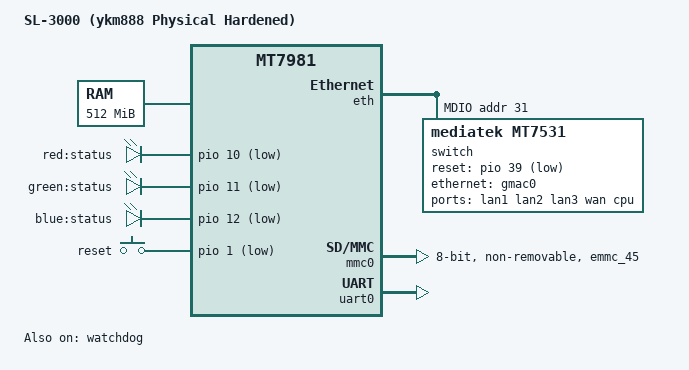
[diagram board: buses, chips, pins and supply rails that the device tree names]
/dts-v1/;
#include "mt7981.dtsi"
#include <dt-bindings/gpio/gpio.h>
#include <dt-bindings/input/input.h>

/ {
	model = "SL-3000 (ykm888 Physical Hardened)";
	compatible = "sl,3000-emmc", "mediatek,mt7981";

	aliases {
		/* 物理别名锁定：确保引导日志输出到正确的 UART */
		serial0 = &uart0;
		/* 物理反馈：系统状态灯逻辑对齐 */
		led-boot = &status_green_led;
		led-failsafe = &status_red_led;
		led-running = &status_green_led;
		led-upgrade = &status_blue_led;
	};

	chosen {
		/* 物理对齐：stdout-path 确保内核崩溃信息能通过串口 0 输出 */
		stdout-path = "serial0:115200n8";
		/* 物理对齐：root 参数匹配 filogic.mk 中的 production 分区名 */
		bootargs = "console=ttyS0,115200n1 loglevel=8 earlycon=uart8250,mmio32,0x11002000 root=PARTLABEL=production rootwait rw rootfstype=f2fs,squashfs";
	};

	/* 物理锁定：为了极致的救砖稳定性，暂时锁定 512MB RAM (0x20000000) */
	/* 物理起始地址 0x40000000 是 MT7981 的标准 DRAM 映射起点 */
	memory@40000000 {
		device_type = "memory";
		reg = <0 0x40000000 0 0x20000000>;
	};

	leds {
		compatible = "gpio-leds";

		status_red_led: led-0 {
			label = "red:status";
			gpios = <&pio 10 GPIO_ACTIVE_LOW>;
		};

		status_green_led: led-1 {
			label = "green:status";
			gpios = <&pio 11 GPIO_ACTIVE_LOW>;
			linux,default-trigger = "default-on";
		};

		status_blue_led: led-2 {
			label = "blue:status";
			gpios = <&pio 12 GPIO_ACTIVE_LOW>;
		};
	};

	gpio-keys {
		compatible = "gpio-keys";

		reset {
			label = "reset";
			linux,code = <KEY_RESTART>;
			gpios = <&pio 1 GPIO_ACTIVE_LOW>;
			debounce-interval = <60>;
		};
	};
};

/* 2.5G 网络链路硬化：MT7531 交换机与 GMAC0 咬合 */
&eth {
	status = "okay";

	gmac0: mac@0 {
		compatible = "mediatek,eth-mac";
		reg = <0>;
		phy-mode = "2500base-x";
		fixed-link {
			speed = <2500>;
			full-duplex;
			pause;
		};
	};

	mdio: mdio-bus {
		#address-cells = <1>;
		#size-cells = <0>;

		switch@0 {
			compatible = "mediatek,mt7531";
			reg = <31>; /* 物理 MDIO 地址锁定在 31 */
			reset-gpios = <&pio 39 GPIO_ACTIVE_LOW>;
			reset-delay-us = <10000>;

			ports {
				#address-cells = <1>;
				#size-cells = <0>;

				port@0 { reg = <0>; label = "lan1"; };
				port@1 { reg = <1>; label = "lan2"; };
				port@2 { reg = <2>; label = "lan3"; };
				port@3 { reg = <3>; label = "wan"; };

				port@6 {
					reg = <6>;
					label = "cpu";
					ethernet = <&gmac0>;
					phy-mode = "2500base-x";
					fixed-link {
						speed = <2500>;
						full-duplex;
						pause;
					};
				};
			};
		};
	};
};

/* eMMC 存储链路硬化：对齐引脚复用组 45 */
&mmc0 {
	bus-width = <8>;
	cap-mmc-highspeed;
	max-frequency = <52000000>;
	non-removable;
	pinctrl-names = "default", "state_uhs";
	pinctrl-0 = <&mmc0_pins_default>;
	pinctrl-1 = <&mmc0_pins_uhs>;
	status = "okay";
};

&pio {
	/* 物理锁定 eMMC 引脚组，防止与 GPIO 冲突 */
	mmc0_pins_default: mmc0-pins-default {
		mux {
			function = "flash";
			groups = "emmc_45";
		};
	};

	mmc0_pins_uhs: mmc0-pins-uhs {
		mux {
			function = "flash";
			groups = "emmc_45";
		};
	};
};

/* 强制启用看门狗，确保系统在致命错误时能物理重置 */
&watchdog {
	status = "okay";
};

/* 串口物理锁定 */
&uart0 {
	status = "okay";
};
